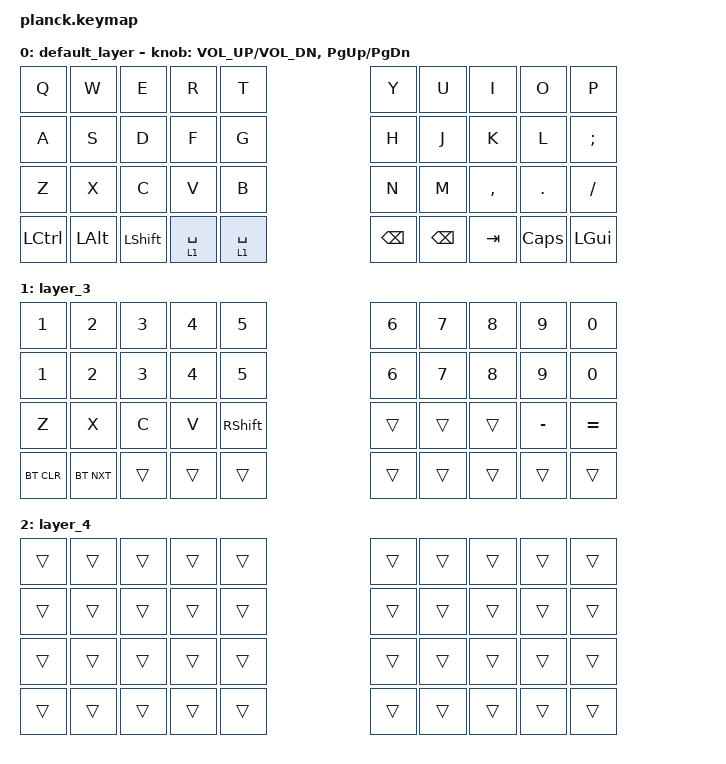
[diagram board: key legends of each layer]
#include <behaviors/toggle_io.dtsi> // for toggle behavior
#include <behaviors/on_io.dtsi> // for on behavior
#include <behaviors/off_io.dtsi> // for off behavior
#include <behaviors.dtsi>
#include <dt-bindings/zmk/bt.h>
#include <dt-bindings/zmk/keys.h>

// / {
//     chosen {
//         zmk,physical-layout = &matrix_physical_layout;
//     };
// };

/ {
    keymap {
        compatible = "zmk,keymap";

        default_layer {
            // --------------------------------------------------------------------------------------------------------------------------------------------------------------------
            // |   ESC   |    Q    |    W    |    E    |    R    |    T    |                                          |    Y    |    U    |    I    |    O    |    P    |    \    |
            // |   TAB   |    A    |    S    |    D    |    F    |    G    |                                          |    H    |    J    |    K    |    L    |    ;    |    '    |
            // |  SHIFT  |    Z    |    X    |    C    |    V    |    B    | CTRL+A  | CTRL+C  |  |  CTRL+V |  CTRL+X |    N    |    M    |    ,    |    .    |    /    |  R CTRL |
            //                               |   GUI   |   DEL   | RETURN  |  SPACE  | ESCAPE  |  |  RETURN |  SPACE  |   TAB   |   BSPC  |  R ALT  |

            bindings = <
&kp Q      &kp W     &kp E      &kp R        &kp T            &kp Y          &kp U          &kp I      &kp O     &kp P
&kp A      &kp S     &kp D      &kp F        &kp G            &kp H          &kp J          &kp K      &kp L     &kp SEMI
&kp Z      &kp X     &kp C      &kp V        &kp B            &kp N          &kp M          &kp COMMA  &kp DOT   &kp FSLH
&kp LCTRL  &kp LALT  &kp LSHFT  &lt 1 SPACE  &lt 1 SPACE      &kp BACKSPACE  &kp BACKSPACE  &kp TAB    &kp CAPS  &kp LGUI
            >;

            sensor-bindings = <&inc_dec_kp C_VOL_UP C_VOL_DN &inc_dec_kp PG_UP PG_DN>;
        };

        layer_3 {
            bindings = <
&kp N1      &kp N2      &kp N3  &kp N4  &kp N5         &kp N6  &kp N7  &kp N8  &kp N9     &kp N0
&kp N1      &kp N2      &kp N3  &kp N4  &kp N5         &kp N6  &kp N7  &kp N8  &kp N9     &kp N0
&kp Z       &kp X       &kp C   &kp V   &kp RSHFT      &trans  &trans  &trans  &kp MINUS  &kp EQUAL
&bt BT_CLR  &bt BT_NXT  &trans  &trans  &trans         &trans  &trans  &trans  &trans     &trans
            >;
        };

        layer_4 {
            bindings = <
&trans  &trans  &trans  &trans  &trans      &trans  &trans  &trans  &trans  &trans
&trans  &trans  &trans  &trans  &trans      &trans  &trans  &trans  &trans  &trans
&trans  &trans  &trans  &trans  &trans      &trans  &trans  &trans  &trans  &trans
&trans  &trans  &trans  &trans  &trans      &trans  &trans  &trans  &trans  &trans
            >;
        };
    };
};
